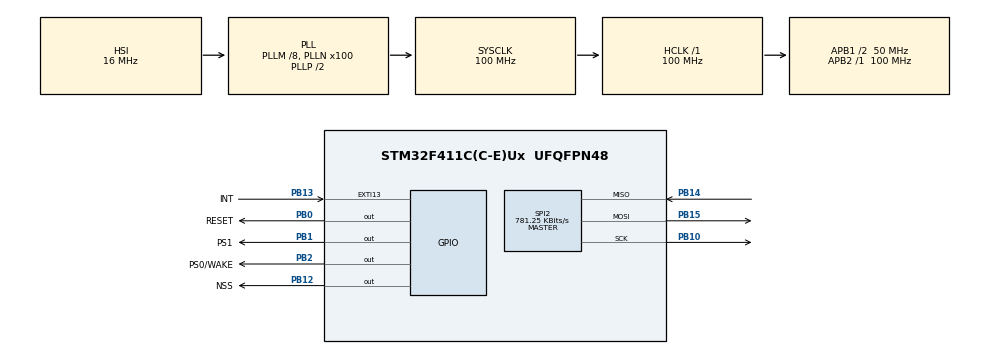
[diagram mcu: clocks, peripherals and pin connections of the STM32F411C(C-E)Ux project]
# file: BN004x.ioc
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Mcu.Family=STM32F4
Mcu.Name=STM32F411C(C-E)Ux
Mcu.Package=UFQFPN48
NVIC.PriorityGroup=NVIC_PRIORITYGROUP_4
NVIC.SPI2_IRQn=true\:0\:0\:false\:false\:true\:true\:true\:true
PB0.GPIO_Label=RESET
PB0.PinState=GPIO_PIN_SET
PB0.Signal=GPIO_Output
PB1.GPIO_Label=PS1
PB1.PinState=GPIO_PIN_SET
PB1.Signal=GPIO_Output
PB10.GPIO_PuPd=GPIO_NOPULL
PB10.Mode=Full_Duplex_Master
PB10.Signal=SPI2_SCK
PB12.GPIO_Label=NSS
PB12.Signal=GPIO_Output
PB13.GPIO_Label=INT
PB13.GPIO_ModeDefaultEXTI=GPIO_MODE_IT_FALLING
PB13.GPIO_PuPd=GPIO_PULLUP
PB13.Signal=GPXTI13
PB14.GPIO_PuPd=GPIO_NOPULL
PB14.Mode=Full_Duplex_Master
PB14.Signal=SPI2_MISO
PB15.Mode=Full_Duplex_Master
PB15.Signal=SPI2_MOSI
PB2.GPIO_Label=PS0/WAKE
PB2.PinState=GPIO_PIN_SET
PB2.Signal=GPIO_Output
PC14-OSC32_IN.Mode=LSE-External-Oscillator
PC14-OSC32_IN.Signal=RCC_OSC32_IN
PC15-OSC32_OUT.Mode=LSE-External-Oscillator
PC15-OSC32_OUT.Signal=RCC_OSC32_OUT
PH0\ -\ OSC_IN.Mode=HSE-External-Oscillator
PH0\ -\ OSC_IN.Signal=RCC_OSC_IN
PH1\ -\ OSC_OUT.Mode=HSE-External-Oscillator
PH1\ -\ OSC_OUT.Signal=RCC_OSC_OUT
ProjectManager.HeapSize=0x200
ProjectManager.StackSize=0x400
ProjectManager.TargetToolchain=STM32CubeIDE
RCC.48MHZClocksFreq_Value=50000000
RCC.AHBFreq_Value=100000000
RCC.APB1CLKDivider=RCC_HCLK_DIV2
RCC.APB1Freq_Value=50000000
RCC.APB1TimFreq_Value=100000000
RCC.APB2Freq_Value=100000000
RCC.APB2TimFreq_Value=100000000
RCC.CortexFreq_Value=100000000
RCC.HCLKFreq_Value=100000000
RCC.HSE_VALUE=25000000
RCC.HSI_VALUE=16000000
RCC.PLLM=8
RCC.PLLN=100
RCC.SYSCLKFreq_VALUE=100000000
RCC.SYSCLKSource=RCC_SYSCLKSOURCE_PLLCLK
RCC.VCOOutputFreq_Value=200000000
SPI2.BaudRatePrescaler=SPI_BAUDRATEPRESCALER_64
SPI2.CLKPhase=SPI_PHASE_2EDGE
SPI2.CLKPolarity=SPI_POLARITY_HIGH
SPI2.CalculateBaudRate=781.25 KBits/s
SPI2.Direction=SPI_DIRECTION_2LINES
SPI2.Mode=SPI_MODE_MASTER
SPI2.VirtualType=VM_MASTER
board=custom

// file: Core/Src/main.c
/* USER CODE BEGIN Header */
/**
  ******************************************************************************
  * @file           : main.c
  * @brief          : Main program body
  ******************************************************************************
  * @attention
  *
  * Copyright (c) 2026 STMicroelectronics.
  * All rights reserved.
  *
  * This software is licensed under terms that can be found in the LICENSE file
  * in the root directory of this software component.
  * If no LICENSE file comes with this software, it is provided AS-IS.
  *
  ******************************************************************************
  */
/* USER CODE END Header */
#include "main.h"
#include "spi.h"
#include "gpio.h"

/* USER CODE BEGIN PD */
#define BNO08X_SPI_TIMEOUT_MS            20U
#define BNO08X_SHTP_HEADER_SIZE          4U
#define BNO08X_MAX_PACKET_PAYLOAD        64U
#define BNO08X_MAX_CHANNELS              6U
#define BNO08X_MAX_REASONABLE_PACKET_LEN 512U

#define BNO08X_CHANNEL_EXECUTABLE        1U
#define BNO08X_CHANNEL_CONTROL           2U

#define BNO08X_REPORT_PRODUCT_ID_REQUEST 0xF9U
#define BNO08X_REPORT_PRODUCT_ID_RESP    0xF8U
#define BNO08X_PRODUCT_ID_ETALON         0x0098A6B4UL

#define BNO08X_RESET_PULSE_MS            2U
#define BNO08X_BOOT_TIMEOUT_MS           200U
#define BNO08X_WAKE_ASSERT_MS            1U
#define BNO08X_WAKE_TIMEOUT_MS           10U
#define BNO08X_RX_DRAIN_MAX_PACKETS      8U

/* USER CODE END PD */

/* USER CODE BEGIN PV */
typedef struct
{
  volatile uint32_t tx_attempts;
  volatile uint32_t tx_ok;
  volatile uint32_t tx_errors;
  volatile uint32_t rx_packets;
  volatile uint32_t rx_errors;
  volatile uint32_t rx_empty_reads;
  volatile uint32_t rx_invalid_headers;
  volatile uint32_t wake_requests;
  volatile uint32_t wake_timeouts;
  volatile uint32_t hw_resets;
  volatile uint32_t product_id_read;
  volatile uint32_t product_id_etalon;
  volatile uint8_t boot_ok;
  volatile uint8_t product_id_valid;
  volatile uint8_t product_id_match;
  volatile uint16_t last_rx_len;
  volatile uint8_t last_channel;
  volatile uint8_t last_report_id;
  volatile uint8_t link_ok;
  volatile uint8_t last_payload[8];
} BNO08X_Diag_t;

static BNO08X_Diag_t g_bno08x_diag = {
    .product_id_etalon = BNO08X_PRODUCT_ID_ETALON,
};
static uint8_t g_bno08x_seq[BNO08X_MAX_CHANNELS] = {0};
static volatile uint8_t g_bno08x_int_pending = 0U;
static volatile uint8_t g_spi_tx_done = 0U;
static volatile uint8_t g_spi_rx_done = 0U;
static volatile uint8_t g_spi_error = 0U;

/* USER CODE END PV */

void SystemClock_Config(void);
/* USER CODE BEGIN PFP */
static inline void BNO08X_CS_Select(void);
static inline void BNO08X_CS_Deselect(void);
static HAL_StatusTypeDef BNO08X_SPI_WritePacket(uint8_t channel, const uint8_t *payload, uint16_t payload_len);
static HAL_StatusTypeDef BNO08X_SPI_ReadPacket(uint8_t *payload, uint16_t payload_size, uint16_t *payload_len, uint8_t *channel);
static HAL_StatusTypeDef BNO08X_SPI_Transmit_IT_Blocking(const uint8_t *data, uint16_t size, uint32_t timeout_ms);
static HAL_StatusTypeDef BNO08X_SPI_Receive_IT_Blocking(uint8_t *data, uint16_t size, uint32_t timeout_ms);
static HAL_StatusTypeDef BNO08X_SendSoftReset(void);
static HAL_StatusTypeDef BNO08X_SendProductIdRequest(void);
static void BNO08X_SetProtocolSPI(void);
static HAL_StatusTypeDef BNO08X_HardwareResetAndBoot(void);
static HAL_StatusTypeDef BNO08X_Wake(void);
static void BNO08X_UpdateDiagFromPayload(uint8_t channel, const uint8_t *payload, uint16_t payload_len);
static uint32_t BNO08X_ReadU32LE(const uint8_t *buf);

/* USER CODE END PFP */

/* USER CODE BEGIN 0 */
static inline void BNO08X_CS_Select(void)
{
  HAL_GPIO_WritePin(NSS_GPIO_Port, NSS_Pin, GPIO_PIN_RESET);
}

static inline void BNO08X_CS_Deselect(void)
{
  HAL_GPIO_WritePin(NSS_GPIO_Port, NSS_Pin, GPIO_PIN_SET);
}

static void BNO08X_SetProtocolSPI(void)
{
  HAL_GPIO_WritePin(BNO08X_PS1_GPIO_Port, BNO08X_PS1_Pin, GPIO_PIN_SET);
  HAL_GPIO_WritePin(BNO08X_PS0_WAKE_GPIO_Port, BNO08X_PS0_WAKE_Pin, GPIO_PIN_SET);
}

static HAL_StatusTypeDef BNO08X_HardwareResetAndBoot(void)
{
  uint32_t start_ms;

  BNO08X_SetProtocolSPI();
  g_bno08x_int_pending = 0U;

  HAL_GPIO_WritePin(BNO08X_RST_GPIO_Port, BNO08X_RST_Pin, GPIO_PIN_RESET);
  HAL_Delay(BNO08X_RESET_PULSE_MS);
  HAL_GPIO_WritePin(BNO08X_RST_GPIO_Port, BNO08X_RST_Pin, GPIO_PIN_SET);
  g_bno08x_diag.hw_resets++;

  start_ms = HAL_GetTick();
  while (HAL_GPIO_ReadPin(INT_GPIO_Port, INT_Pin) == GPIO_PIN_SET)
  {
    if ((HAL_GetTick() - start_ms) > BNO08X_BOOT_TIMEOUT_MS)
    {
      return HAL_TIMEOUT;
    }
  }

  /* Keep PS0/WAKE high through first H_INTN assertion to lock SPI mode. */
  g_bno08x_diag.boot_ok = 1U;
  g_bno08x_int_pending = 1U;

  return HAL_OK;
}

static HAL_StatusTypeDef BNO08X_Wake(void)
{
  uint32_t start_ms;

  g_bno08x_diag.wake_requests++;

  if (HAL_GPIO_ReadPin(INT_GPIO_Port, INT_Pin) == GPIO_PIN_RESET)
  {
    g_bno08x_int_pending = 1U;
    return HAL_OK;
  }

  HAL_GPIO_WritePin(BNO08X_PS0_WAKE_GPIO_Port, BNO08X_PS0_WAKE_Pin, GPIO_PIN_RESET);
  HAL_Delay(BNO08X_WAKE_ASSERT_MS);
  HAL_GPIO_WritePin(BNO08X_PS0_WAKE_GPIO_Port, BNO08X_PS0_WAKE_Pin, GPIO_PIN_SET);

  start_ms = HAL_GetTick();
  while (HAL_GPIO_ReadPin(INT_GPIO_Port, INT_Pin) == GPIO_PIN_SET)
  {
    if ((HAL_GetTick() - start_ms) > BNO08X_WAKE_TIMEOUT_MS)
    {
      g_bno08x_diag.wake_timeouts++;
      return HAL_TIMEOUT;
    }
  }

  g_bno08x_int_pending = 1U;
  return HAL_OK;
}

static HAL_StatusTypeDef BNO08X_SPI_WritePacket(uint8_t channel, const uint8_t *payload, uint16_t payload_len)
{
  HAL_StatusTypeDef status;
  uint8_t tx_buf[BNO08X_SHTP_HEADER_SIZE + BNO08X_MAX_PACKET_PAYLOAD];
  uint16_t packet_len = (uint16_t)(BNO08X_SHTP_HEADER_SIZE + payload_len);
  uint16_t i;

  if ((channel >= BNO08X_MAX_CHANNELS) || (payload_len > BNO08X_MAX_PACKET_PAYLOAD))
  {
    return HAL_ERROR;
  }

  tx_buf[0] = (uint8_t)(packet_len & 0xFFU);
  tx_buf[1] = (uint8_t)((packet_len >> 8) & 0x7FU);
  tx_buf[2] = channel;
  tx_buf[3] = g_bno08x_seq[channel]++;

  for (i = 0; i < payload_len; i++)
  {
    tx_buf[BNO08X_SHTP_HEADER_SIZE + i] = payload[i];
  }

  BNO08X_CS_Select();
  status = BNO08X_SPI_Transmit_IT_Blocking(tx_buf, packet_len, BNO08X_SPI_TIMEOUT_MS);
  BNO08X_CS_Deselect();

  return status;
}

static HAL_StatusTypeDef BNO08X_SPI_ReadPacket(uint8_t *payload, uint16_t payload_size, uint16_t *payload_len, uint8_t *channel)
{
  HAL_StatusTypeDef status;
  uint8_t header[BNO08X_SHTP_HEADER_SIZE];
  uint16_t packet_len;
  uint16_t data_len;
  uint16_t to_copy;

  if ((payload == NULL) || (payload_len == NULL) || (channel == NULL))
  {
    return HAL_ERROR;
  }

  BNO08X_CS_Select();
  status = BNO08X_SPI_Receive_IT_Blocking(header, BNO08X_SHTP_HEADER_SIZE, BNO08X_SPI_TIMEOUT_MS);
  if (status != HAL_OK)
  {
    BNO08X_CS_Deselect();
    return status;
  }

  packet_len = (uint16_t)header[0] | ((uint16_t)header[1] << 8);

  if ((header[0] == 0xFFU) && (header[1] == 0xFFU))
  {
    *payload_len = 0U;
    BNO08X_CS_Deselect();
    g_bno08x_diag.rx_empty_reads++;
    return HAL_BUSY;
  }

  packet_len &= 0x7FFFU;
  *channel = header[2];

  if (packet_len < BNO08X_SHTP_HEADER_SIZE)
  {
    *payload_len = 0U;
    BNO08X_CS_Deselect();
    g_bno08x_diag.rx_invalid_headers++;
    return HAL_ERROR;
  }

  if ((packet_len > BNO08X_MAX_REASONABLE_PACKET_LEN) || (*channel >= BNO08X_MAX_CHANNELS))
  {
    *payload_len = 0U;
    BNO08X_CS_Deselect();
    g_bno08x_diag.rx_invalid_headers++;
    return HAL_ERROR;
  }

  data_len = (uint16_t)(packet_len - BNO08X_SHTP_HEADER_SIZE);
  to_copy = (data_len <= payload_size) ? data_len : payload_size;

  if (to_copy > 0U)
  {
    status = BNO08X_SPI_Receive_IT_Blocking(payload, to_copy, BNO08X_SPI_TIMEOUT_MS);
    if (status != HAL_OK)
    {
      BNO08X_CS_Deselect();
      return status;
    }
  }

  if (data_len > to_copy)
  {
    uint8_t drain[16];
    uint16_t remaining = (uint16_t)(data_len - to_copy);
    while (remaining > 0U)
    {
      uint16_t chunk = (remaining > sizeof(drain)) ? (uint16_t)sizeof(drain) : remaining;
      status = BNO08X_SPI_Receive_IT_Blocking(drain, chunk, BNO08X_SPI_TIMEOUT_MS);
      if (status != HAL_OK)
      {
        BNO08X_CS_Deselect();
        return status;
      }
      remaining = (uint16_t)(remaining - chunk);
    }
  }

  *payload_len = data_len;
  BNO08X_CS_Deselect();

  return HAL_OK;
}

static HAL_StatusTypeDef BNO08X_SPI_Transmit_IT_Blocking(const uint8_t *data, uint16_t size, uint32_t timeout_ms)
{
  HAL_StatusTypeDef status;
  uint32_t start_ms;

  if ((data == NULL) || (size == 0U))
  {
    return HAL_ERROR;
  }

  g_spi_tx_done = 0U;
  g_spi_error = 0U;

  status = HAL_SPI_Transmit_IT(&hspi2, (uint8_t *)data, size);
  if (status != HAL_OK)
  {
    return status;
  }

  start_ms = HAL_GetTick();
  while (g_spi_tx_done == 0U)
  {
    if (g_spi_error != 0U)
    {
      return HAL_ERROR;
    }
    if ((HAL_GetTick() - start_ms) > timeout_ms)
    {
      (void)HAL_SPI_Abort(&hspi2);
      return HAL_TIMEOUT;
    }
  }

  return HAL_OK;
}

static HAL_StatusTypeDef BNO08X_SPI_Receive_IT_Blocking(uint8_t *data, uint16_t size, uint32_t timeout_ms)
{
  HAL_StatusTypeDef status;
  uint32_t start_ms;

  if ((data == NULL) || (size == 0U))
  {
    return HAL_ERROR;
  }

  g_spi_rx_done = 0U;
  g_spi_error = 0U;

  status = HAL_SPI_Receive_IT(&hspi2, data, size);
  if (status != HAL_OK)
  {
    return status;
  }

  start_ms = HAL_GetTick();
  while (g_spi_rx_done == 0U)
  {
    if (g_spi_error != 0U)
    {
      return HAL_ERROR;
    }
    if ((HAL_GetTick() - start_ms) > timeout_ms)
    {
      (void)HAL_SPI_Abort(&hspi2);
      return HAL_TIMEOUT;
    }
  }

  return HAL_OK;
}

static HAL_StatusTypeDef BNO08X_SendSoftReset(void)
{
  const uint8_t soft_reset_cmd[1] = {0x01U};
  return BNO08X_SPI_WritePacket(BNO08X_CHANNEL_EXECUTABLE, soft_reset_cmd, sizeof(soft_reset_cmd));
}

static HAL_StatusTypeDef BNO08X_SendProductIdRequest(void)
{
  const uint8_t request[2] = {BNO08X_REPORT_PRODUCT_ID_REQUEST, 0x00U};
  return BNO08X_SPI_WritePacket(BNO08X_CHANNEL_CONTROL, request, sizeof(request));
}

static uint32_t BNO08X_ReadU32LE(const uint8_t *buf)
{
  return ((uint32_t)buf[0]) |
         ((uint32_t)buf[1] << 8) |
         ((uint32_t)buf[2] << 16) |
         ((uint32_t)buf[3] << 24);
}

static void BNO08X_UpdateDiagFromPayload(uint8_t channel, const uint8_t *payload, uint16_t payload_len)
{
  uint16_t i;
  uint16_t copy_len;

  g_bno08x_diag.last_channel = channel;
  g_bno08x_diag.last_rx_len = payload_len;
  g_bno08x_diag.last_report_id = (payload_len > 0U) ? payload[0] : 0U;

  copy_len = (payload_len < sizeof(g_bno08x_diag.last_payload)) ? payload_len : sizeof(g_bno08x_diag.last_payload);
  for (i = 0; i < copy_len; i++)
  {
    g_bno08x_diag.last_payload[i] = payload[i];
  }

  if ((channel == BNO08X_CHANNEL_CONTROL) && (payload_len > 0U) && (payload[0] == BNO08X_REPORT_PRODUCT_ID_RESP))
  {
    if (payload_len >= 8U)
    {
      g_bno08x_diag.product_id_read = BNO08X_ReadU32LE(&payload[4]);
      g_bno08x_diag.product_id_valid = 1U;
      g_bno08x_diag.product_id_match = (g_bno08x_diag.product_id_read == g_bno08x_diag.product_id_etalon) ? 1U : 0U;
    }
    g_bno08x_diag.link_ok = 1U;
  }
}

/* USER CODE END 0 */

int main(void)
{

  /* MCU Configuration--------------------------------------------------------*/

  /* Reset of all peripherals, Initializes the Flash interface and the Systick. */
  HAL_Init();

  /* Configure the system clock */
  SystemClock_Config();

  /* Initialize all configured peripherals */
  MX_GPIO_Init();
  MX_SPI2_Init();
  /* USER CODE BEGIN 2 */
  uint32_t next_product_id_request_ms = HAL_GetTick() + 300U;
  uint8_t rx_payload[BNO08X_MAX_PACKET_PAYLOAD];
  uint16_t rx_len = 0U;
  uint8_t rx_channel = 0U;

  BNO08X_CS_Deselect();
  HAL_Delay(10);

  if (BNO08X_HardwareResetAndBoot() == HAL_OK)
  {
    g_bno08x_diag.tx_attempts++;
    if (BNO08X_SendSoftReset() == HAL_OK)
    {
      g_bno08x_diag.tx_ok++;
      g_bno08x_int_pending = 1U;
    }
    else
    {
      g_bno08x_diag.tx_errors++;
    }
  }
  else
  {
    g_bno08x_diag.tx_errors++;
  }

  /* USER CODE END 2 */

  /* Infinite loop */
  while (1)
  {

    /* USER CODE BEGIN 3 */
    if ((int32_t)(HAL_GetTick() - next_product_id_request_ms) >= 0)
    {
      HAL_StatusTypeDef wake_status = BNO08X_Wake();
      if (wake_status != HAL_OK)
      {
        g_bno08x_diag.tx_errors++;
        next_product_id_request_ms = HAL_GetTick() + 100U;
        continue;
      }

      g_bno08x_diag.tx_attempts++;
      if (BNO08X_SendProductIdRequest() == HAL_OK)
      {
        g_bno08x_diag.tx_ok++;
      }
      else
      {
        g_bno08x_diag.tx_errors++;
      }

      next_product_id_request_ms = HAL_GetTick() + (g_bno08x_diag.link_ok ? 3000U : 1000U);
    }

    if ((g_bno08x_int_pending != 0U) || (HAL_GPIO_ReadPin(INT_GPIO_Port, INT_Pin) == GPIO_PIN_RESET))
    {
      uint8_t drain_count = 0U;
      g_bno08x_int_pending = 0U;

      while (drain_count < BNO08X_RX_DRAIN_MAX_PACKETS)
      {
        HAL_StatusTypeDef read_status = BNO08X_SPI_ReadPacket(rx_payload, sizeof(rx_payload), &rx_len, &rx_channel);
        if (read_status == HAL_OK)
        {
          if (rx_len > 0U)
          {
            g_bno08x_diag.rx_packets++;
            BNO08X_UpdateDiagFromPayload(rx_channel, rx_payload, rx_len);
          }
        }
        else if (read_status == HAL_BUSY)
        {
          break;
        }
        else
        {
          g_bno08x_diag.rx_errors++;
          break;
        }

        drain_count++;
        if (HAL_GPIO_ReadPin(INT_GPIO_Port, INT_Pin) != GPIO_PIN_RESET)
        {
          break;
        }
      }

      if (HAL_GPIO_ReadPin(INT_GPIO_Port, INT_Pin) == GPIO_PIN_RESET)
      {
        g_bno08x_int_pending = 1U;
      }
    }

    HAL_Delay(1);
  }
  /* USER CODE END 3 */
}

void SystemClock_Config(void)
{
  RCC_OscInitTypeDef RCC_OscInitStruct = {0};
  RCC_ClkInitTypeDef RCC_ClkInitStruct = {0};

  /** Configure the main internal regulator output voltage
  */
  __HAL_RCC_PWR_CLK_ENABLE();
  __HAL_PWR_VOLTAGESCALING_CONFIG(PWR_REGULATOR_VOLTAGE_SCALE1);

  /** Initializes the RCC Oscillators according to the specified parameters
  * in the RCC_OscInitTypeDef structure.
  */
  RCC_OscInitStruct.OscillatorType = RCC_OSCILLATORTYPE_HSI;
  RCC_OscInitStruct.HSIState = RCC_HSI_ON;
  RCC_OscInitStruct.HSICalibrationValue = RCC_HSICALIBRATION_DEFAULT;
  RCC_OscInitStruct.PLL.PLLState = RCC_PLL_ON;
  RCC_OscInitStruct.PLL.PLLSource = RCC_PLLSOURCE_HSI;
  RCC_OscInitStruct.PLL.PLLM = 8;
  RCC_OscInitStruct.PLL.PLLN = 100;
  RCC_OscInitStruct.PLL.PLLP = RCC_PLLP_DIV2;
  RCC_OscInitStruct.PLL.PLLQ = 4;
  if (HAL_RCC_OscConfig(&RCC_OscInitStruct) != HAL_OK)
  {
    Error_Handler();
  }

  /** Initializes the CPU, AHB and APB buses clocks
  */
  RCC_ClkInitStruct.ClockType = RCC_CLOCKTYPE_HCLK|RCC_CLOCKTYPE_SYSCLK
                              |RCC_CLOCKTYPE_PCLK1|RCC_CLOCKTYPE_PCLK2;
  RCC_ClkInitStruct.SYSCLKSource = RCC_SYSCLKSOURCE_PLLCLK;
  RCC_ClkInitStruct.AHBCLKDivider = RCC_SYSCLK_DIV1;
  RCC_ClkInitStruct.APB1CLKDivider = RCC_HCLK_DIV2;
  RCC_ClkInitStruct.APB2CLKDivider = RCC_HCLK_DIV1;

  if (HAL_RCC_ClockConfig(&RCC_ClkInitStruct, FLASH_LATENCY_3) != HAL_OK)
  {
    Error_Handler();
  }
}

/* USER CODE BEGIN 4 */
void HAL_SPI_TxCpltCallback(SPI_HandleTypeDef *hspi)
{
  if (hspi->Instance == SPI2)
  {
    g_spi_tx_done = 1U;
  }
}

void HAL_SPI_RxCpltCallback(SPI_HandleTypeDef *hspi)
{
  if (hspi->Instance == SPI2)
  {
    g_spi_rx_done = 1U;
  }
}

void HAL_SPI_ErrorCallback(SPI_HandleTypeDef *hspi)
{
  if (hspi->Instance == SPI2)
  {
    g_spi_error = 1U;
  }
}

void HAL_GPIO_EXTI_Callback(uint16_t GPIO_Pin)
{
  if (GPIO_Pin == INT_Pin)
  {
    g_bno08x_int_pending = 1U;
  }
}

/* USER CODE END 4 */

void Error_Handler(void)
{
  __disable_irq();
  while (1)
  {
  }
}
